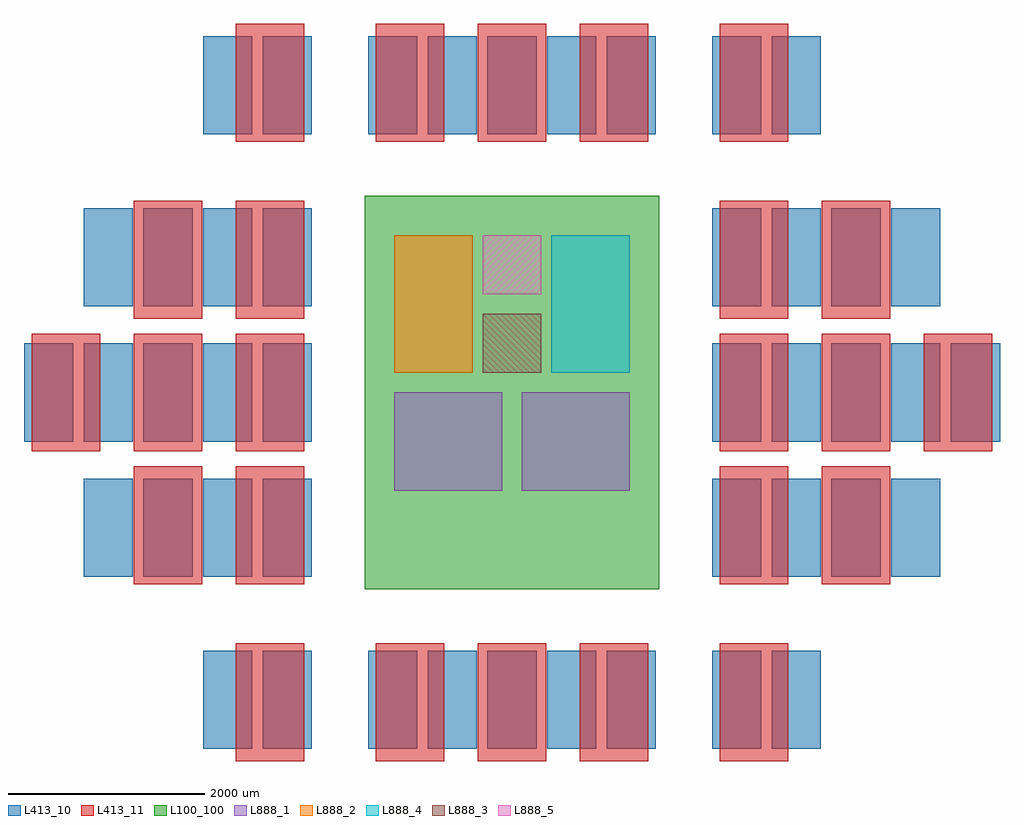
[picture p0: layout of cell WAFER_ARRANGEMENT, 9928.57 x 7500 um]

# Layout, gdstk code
import gdstk
lib = gdstk.Library(unit=1e-6, precision=1e-09)
def R(c, l, rs):  # rectangles x0, y0, x1, y1
    for r in rs: c.add(gdstk.rectangle(r[:2], r[2:], *l))
def A(c, l, x, y, w, h, nx, ny, dx, dy):  # array of equal rectangles
    R(c, l, [(x+i*dx, y+j*dy, x+i*dx+w, y+j*dy+h) for i in range(nx) for j in range(ny)])
L100_100 = (100, 100)
L413_10 = (413, 10)
L413_11 = (413, 11)
L888_1 = (888, 1)
L888_2 = (888, 2)
L888_3 = (888, 3)
L888_4 = (888, 4)
L888_5 = (888, 5)

wafer_arrangement = lib.new_cell('WAFER_ARRANGEMENT')
R(wafer_arrangement, L100_100, [(-1500,-2000,1500,2000)])
A(wafer_arrangement, L413_10, -1464.286, -3625, 500, 1000, 5, 2, 607.143, 6250)
A(wafer_arrangement, L413_10, -4357.143, -1875, 500, 1000, 4, 2, 607.143, 2750)
A(wafer_arrangement, L413_10, 2035.714, -1875, 500, 1000, 4, 2, 607.143, 2750)
A(wafer_arrangement, L413_10, -4964.286, -500, 500, 1000, 5, 1, 607.143, 0)
A(wafer_arrangement, L413_10, 2035.714, -500, 500, 1000, 5, 1, 607.143, 0)
R(wafer_arrangement, L413_10, [(-3142.857,-3625,-2642.857,-2625), (-2535.714,-3625,-2035.714,-2625), (2035.714,-3625,2535.714,-2625), (2642.857,-3625,3142.857,-2625), (-3142.857,2625,-2642.857,3625), (-2535.714,2625,-2035.714,3625), (2035.714,2625,2535.714,3625), (2642.857,2625,3142.857,3625)])
A(wafer_arrangement, L413_11, -1387.5, -3750, 700, 1200, 3, 2, 1037.5, 6300)
A(wafer_arrangement, L413_11, -4887.5, -600, 700, 1200, 3, 1, 1037.5, 0)
A(wafer_arrangement, L413_11, 2112.5, -600, 700, 1200, 3, 1, 1037.5, 0)
R(wafer_arrangement, L413_11, [(-2812.5,-3750,-2112.5,-2550), (2112.5,-3750,2812.5,-2550), (-3850,-1950,-3150,-750), (-2812.5,-1950,-2112.5,-750), (2112.5,-1950,2812.5,-750), (3150,-1950,3850,-750), (-3850,750,-3150,1950), (-2812.5,750,-2112.5,1950), (2112.5,750,2812.5,1950), (3150,750,3850,1950), (-2812.5,2550,-2112.5,3750), (2112.5,2550,2812.5,3750)])
R(wafer_arrangement, L888_1, [(-1200,-1000,-100,0), (100,-1000,1200,0)])
R(wafer_arrangement, L888_2, [(-1200,200,-400,1600)])
R(wafer_arrangement, L888_3, [(-300,200,300,800)])
R(wafer_arrangement, L888_4, [(400,200,1200,1600)])
R(wafer_arrangement, L888_5, [(-300,1000,300,1600)])

lib.write_gds('WAFER_ARRANGEMENT.gds')
